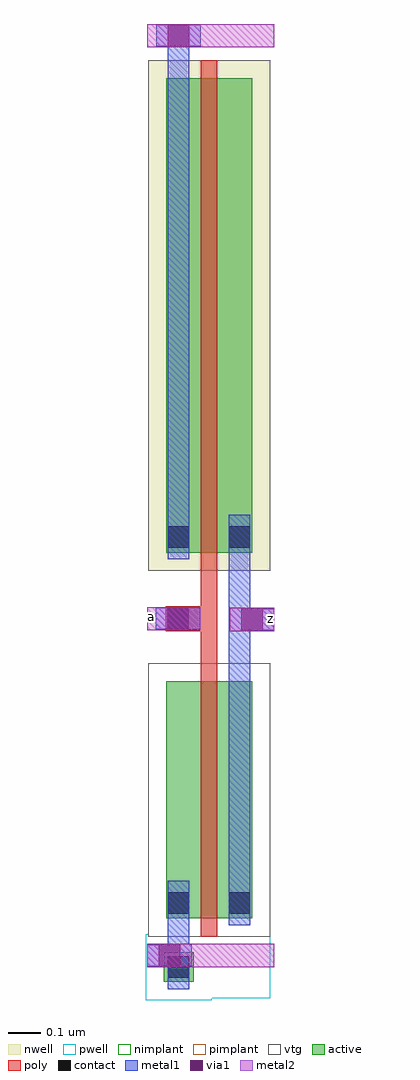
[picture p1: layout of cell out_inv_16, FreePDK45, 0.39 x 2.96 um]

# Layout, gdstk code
from math import pi, radians
import gdstk
lib = gdstk.Library(unit=1e-6, precision=5e-10)
def R(c, l, rs):  # rectangles x0, y0, x1, y1
    for r in rs: c.add(gdstk.rectangle(r[:2], r[2:], *l))
active = (1, 0)
pwell = (2, 0)
nwell = (3, 0)
nimplant = (4, 0)
pimplant = (5, 0)
vtg = (6, 0)
poly = (9, 0)
contact = (10, 0)
metal1 = (11, 0)
via1 = (12, 0)
metal2 = (13, 0)

dcont_28 = lib.new_cell('dcont_28')
R(dcont_28, active, [(-0.0375,0.03,0.0375,0.105)])
R(dcont_28, contact, [(-0.0325,0.035,0.0325,0.1)])
R(dcont_28, metal1, [(-0.0325,0,0.0325,0.135)])

nmos_vtg_11 = lib.new_cell('nmos_vtg_11')
R(nmos_vtg_11, active, [(-0.105,0,0.155,0.72), (-0.105,0,-0.03,0.72), (0.08,0,0.155,0.72), (-0.105,0.01,-0.03,0.085), (0.08,0.01,0.155,0.085)])
R(nmos_vtg_11, pwell, [(-0.16,-0.055,0.21,0.775)])
R(nmos_vtg_11, nimplant, [(-0.105,0,0.155,0.72)])
R(nmos_vtg_11, vtg, [(-0.16,-0.055,0.21,0.775)])
R(nmos_vtg_11, poly, [(0,-0.055,0.05,0), (0,-0.055,0.05,0.775), (0,0.72,0.05,0.775)])
nmos_vtg_11.add(gdstk.Reference(dcont_28, (0.1175,-0.02)))
nmos_vtg_11.add(gdstk.Reference(dcont_28, (-0.0675,-0.02)))
nmos_vtg_11.add(gdstk.Label('l = 0.05', (0.06,0.36), layer=239, texttype=0))
nmos_vtg_11.add(gdstk.Label('w = 0.72', (0.025,0.785), layer=239, texttype=0))

pcont_0 = lib.new_cell('pcont_0')
R(pcont_0, poly, [(-0.0375,-0.0375,0.0375,0.0375)])
R(pcont_0, contact, [(-0.0325,-0.0325,0.0325,0.0325)])
R(pcont_0, metal1, [(-0.0325,-0.0675,0.0325,0.0675)])

m2_m1_viab = lib.new_cell('M2_M1_viaB')
R(m2_m1_viab, metal1, [(-0.0675,-0.0325,0.0675,0.0325)])
R(m2_m1_viab, via1, [(-0.0325,-0.0325,0.0325,0.0325)])
R(m2_m1_viab, metal2, [(-0.0675,-0.035,0.0675,0.035)])

m2_m1_viac = lib.new_cell('M2_M1_viaC')
R(m2_m1_viac, metal1, [(-0.0325,-0.0675,0.0325,0.0675)])
R(m2_m1_viac, via1, [(-0.0325,-0.0325,0.0325,0.0325)])
R(m2_m1_viac, metal2, [(-0.035,-0.0675,0.035,0.0675)])

pmos_vtg_12 = lib.new_cell('pmos_vtg_12')
R(pmos_vtg_12, active, [(-0.105,0,0.155,1.44), (-0.105,0,-0.03,1.44), (0.08,0,0.155,1.44), (-0.105,0.01,-0.03,0.085), (0.08,0.01,0.155,0.085)])
R(pmos_vtg_12, nwell, [(-0.16,-0.055,0.21,1.495)])
R(pmos_vtg_12, pimplant, [(-0.105,0,0.155,1.44)])
R(pmos_vtg_12, vtg, [(-0.16,-0.055,0.21,1.495)])
R(pmos_vtg_12, poly, [(0,-0.055,0.05,0), (0,-0.055,0.05,1.495), (0,1.44,0.05,1.495)])
pmos_vtg_12.add(gdstk.Reference(dcont_28, (0.1175,-0.02)))
pmos_vtg_12.add(gdstk.Reference(dcont_28, (-0.0675,-0.02)))
pmos_vtg_12.add(gdstk.Label('l = 0.05', (0.06,0.72), layer=239, texttype=0))
pmos_vtg_12.add(gdstk.Label('w = 1.44', (0.025,1.505), layer=239, texttype=0))

ptap_1 = lib.new_cell('PTAP_1')
R(ptap_1, active, [(-0.045,-0.045,0.045,0.045)])
R(ptap_1, pwell, [(-0.1,-0.1,0.1,0.1)])
R(ptap_1, pimplant, [(-0.045,-0.045,0.045,0.045)])
R(ptap_1, contact, [(-0.0325,-0.0325,0.0325,0.0325)])
R(ptap_1, metal1, [(-0.0325,-0.0675,0.0325,0.0675)])

out_inv_16 = lib.new_cell('out_inv_16')
R(out_inv_16, pwell, [(0.0025,-0.0925,0.3725,0.14)])
R(out_inv_16, poly, [(0.1625,0.905,0.2125,1.2075), (0.09,1.0225,0.1625,1.0975)])
R(out_inv_16, metal1, [(0.0625,0.005,0.1275,0.14), (0.2475,0.2,0.3125,1.285), (0.0625,1.3075,0.1275,2.8425)])
R(out_inv_16, metal2, [(0,0.0025,0.385,0.0725), (0,1.025,0.13,1.095), (0,2.795,0.385,2.865)])
out_inv_16.add(gdstk.Reference(nmos_vtg_11, (0.1625,0.15)))
out_inv_16.add(gdstk.Reference(pcont_0, (0.0925,1.06), rotation=pi/2))
out_inv_16.add(gdstk.Reference(m2_m1_viab, (0.095,2.83)))
out_inv_16.add(gdstk.Reference(m2_m1_viab, (0.0675,0.0375)))
out_inv_16.add(gdstk.Reference(m2_m1_viac, (0.0925,1.06), rotation=pi/2))
out_inv_16.add(gdstk.Reference(m2_m1_viac, (0.3175,1.0575), rotation=pi/2))
out_inv_16.add(gdstk.Reference(pmos_vtg_12, (0.1625,1.26)))
out_inv_16.add(gdstk.Reference(ptap_1, (0.095,0.0025)))
out_inv_16.add(gdstk.Label('z', (0.3725,1.06), layer=13, texttype=0))
out_inv_16.add(gdstk.Label('a', (0.0125,1.0675), layer=13, texttype=0))

lib.write_gds('out_inv_16.gds')
